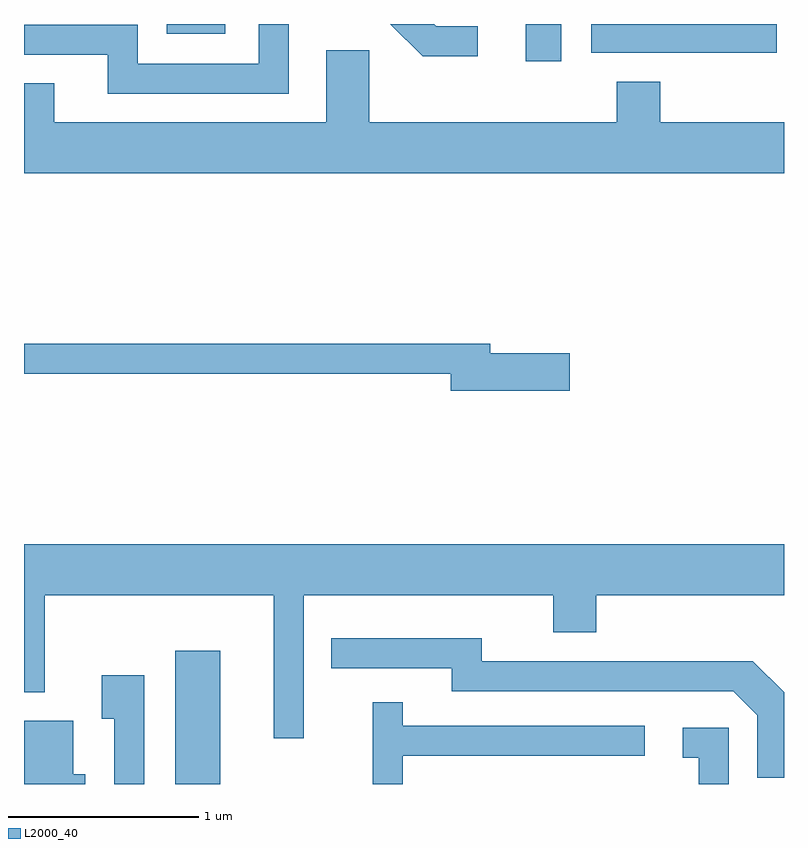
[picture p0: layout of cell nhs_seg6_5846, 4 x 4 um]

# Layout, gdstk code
import gdstk
lib = gdstk.Library(unit=1e-6, precision=1e-09)
def R(c, l, rs):  # rectangles x0, y0, x1, y1
    for r in rs: c.add(gdstk.rectangle(r[:2], r[2:], *l))
def P(c, l, *ps):  # polygons
    for p in ps: c.add(gdstk.Polygon(p, *l))
L2000_40 = (2000, 40)

nhs_seg6_5846 = lib.new_cell('nhs_seg6_5846')
R(nhs_seg6_5846, L2000_40, [(364.406,1540.162,364.644,1540.864), (366.251,1543.966,366.439,1544.162), (366.596,1544.011,367.574,1544.162), (364.361,1544.111,364.669,1544.162)])
P(nhs_seg6_5846, L2000_40, [(365.998,1544.149),(365.782,1544.149),(365.769,1544.162),(365.538,1544.162),(365.709,1543.991),(365.998,1543.991)],
  [(365.004,1544.162),(364.846,1544.162),(364.846,1543.954),(364.209,1543.954),(364.209,1544.159),(363.611,1544.159),(363.611,1544.001),(364.051,1544.001),(364.051,1543.796),(365.004,1543.796)],
  [(367.611,1543.644),(366.959,1543.644),(366.959,1543.859),(366.731,1543.859),(366.731,1543.644),(365.429,1543.644),(365.429,1544.024),(365.201,1544.024),(365.201,1543.644),(363.769,1543.644),(363.769,1543.849),(363.611,1543.849),(363.611,1543.376),(367.611,1543.376)],
  [(366.484,1542.429),(366.064,1542.429),(366.064,1542.479),(363.611,1542.479),(363.611,1542.321),(365.856,1542.321),(365.856,1542.231),(366.484,1542.231)],
  [(365.084,1541.156),(366.396,1541.156),(366.396,1540.961),(366.624,1540.961),(366.624,1541.156),(367.611,1541.156),(367.611,1541.424),(363.611,1541.424),(363.611,1540.646),(363.719,1540.646),(363.719,1541.156),(364.926,1541.156),(364.926,1540.403),(365.084,1540.403)],
  [(367.611,1540.645),(367.447,1540.809),(366.019,1540.809),(366.019,1540.929),(365.228,1540.929),(365.228,1540.771),(365.861,1540.771),(365.861,1540.651),(367.344,1540.651),(367.471,1540.524),(367.471,1540.196),(367.611,1540.196)],
  [(364.244,1540.734),(364.021,1540.734),(364.021,1540.506),(364.086,1540.506),(364.086,1540.162),(364.244,1540.162)],
  [(365.604,1540.311),(366.878,1540.311),(366.878,1540.469),(365.604,1540.469),(365.604,1540.593),(365.446,1540.593),(365.446,1540.162),(365.604,1540.162)],
  [(363.934,1540.214),(363.869,1540.214),(363.869,1540.494),(363.611,1540.494),(363.611,1540.162),(363.934,1540.162)],
  [(367.319,1540.459),(367.078,1540.459),(367.078,1540.301),(367.161,1540.301),(367.161,1540.162),(367.319,1540.162)])

lib.write_gds('nhs_seg6_5846.gds')
